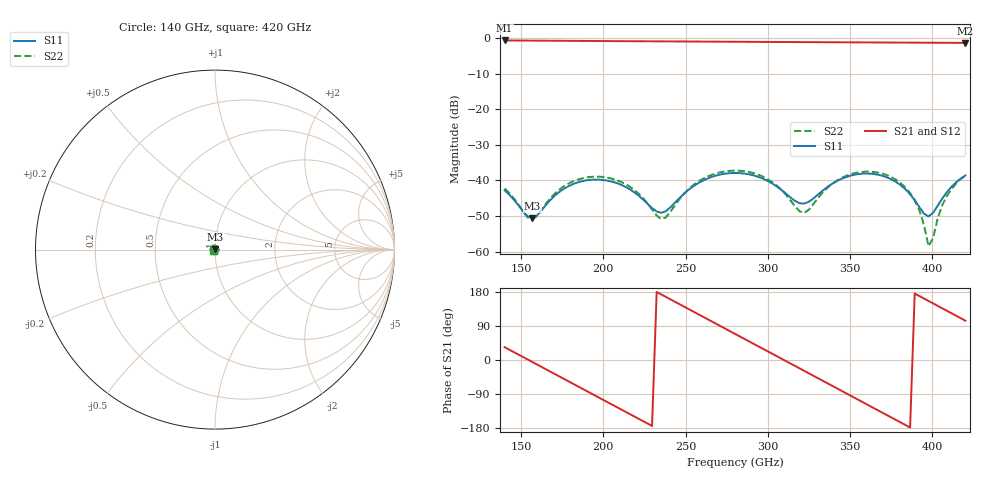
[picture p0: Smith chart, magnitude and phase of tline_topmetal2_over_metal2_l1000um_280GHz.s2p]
#  GHZ S DB R 50
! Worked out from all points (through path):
!   101 points, 140 GHz to 420 GHz, reference 50 ohm
!   highest |S21| = -0.69 dB at 140 GHz (marker M1); lowest = -1.4 dB at 420 GHz (marker M2)
!   group delay of S21, straight-line fit = 6.45 ps
!   lowest |S11| = -50.6 dB at 156.8 GHz (marker M3), VSWR 1.01, Z = 50.2 + j0.22 ohm
!   |S11| at or under -10 dB: start of sweep to end of sweep
!   |S22| runs from -58.5 to -37.2 dB; largest |S21 - S12| = 1e-13
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140  -42.76 163.9  -0.69 33.9  -0.69 33.9  -42.27 167.8
156.8  -50.59 47.8  -0.73 -5.1  -0.73 -5.1  -51.01 49.3
170.8  -44.15 -52.5  -0.77 -37.7  -0.77 -37.7  -43.55 -52.3
187.6  -40.15 -114.5  -0.82 -76.7  -0.82 -76.7  -39.35 -111.4
207.2  -40.60 -179.6  -0.87 -122.1  -0.87 -122.1  -39.77 -172.8
221.2  -44.17 126.7  -0.91 -154.6  -0.91 -154.6  -43.59 138.2
235.2  -49.09 30.6  -0.94 173.0  -0.94 173.0  -50.85 40.3
246.4  -44.86 -51.9  -0.97 147.0  -0.97 147.0  -45.15 -53.6
260.4  -40.06 -109.1  -1.00 114.5  -1.00 114.5  -39.57 -107.2
280  -37.90 -172.6  -1.05 69.0  -1.05 69.0  -37.24 -166.6
294  -38.96 141.9  -1.09 36.5  -1.09 36.5  -38.37 151.2
305.2  -41.62 99.7  -1.11 10.5  -1.11 10.5  -41.37 113.1
319.2  -46.40 15.1  -1.15 -22.0  -1.15 -22.0  -48.66 28.4
327.6  -45.07 -51.0  -1.16 -41.5  -1.16 -41.5  -46.65 -54.1
350  -38.67 -148.0  -1.21 -93.6  -1.21 -93.6  -38.29 -145.7
361.2  -38.07 176.7  -1.24 -119.6  -1.24 -119.6  -37.52 -177.8
375.2  -39.72 132.8  -1.27 -152.1  -1.27 -152.1  -39.11 143.6
389.2  -45.53 75.7  -1.30 175.3  -1.30 175.3  -45.55 101.2
394.8  -49.29 31.2  -1.31 162.3  -1.31 162.3  -52.46 71.8
397.6  -50.10 -2.2  -1.32 155.8  -1.32 155.8  -58.46 27.5
408.8  -43.25 -93.4  -1.34 129.8  -1.34 129.8  -44.32 -106.4
420  -38.60 -134.7  -1.37 103.7  -1.37 103.7  -38.62 -139.2
